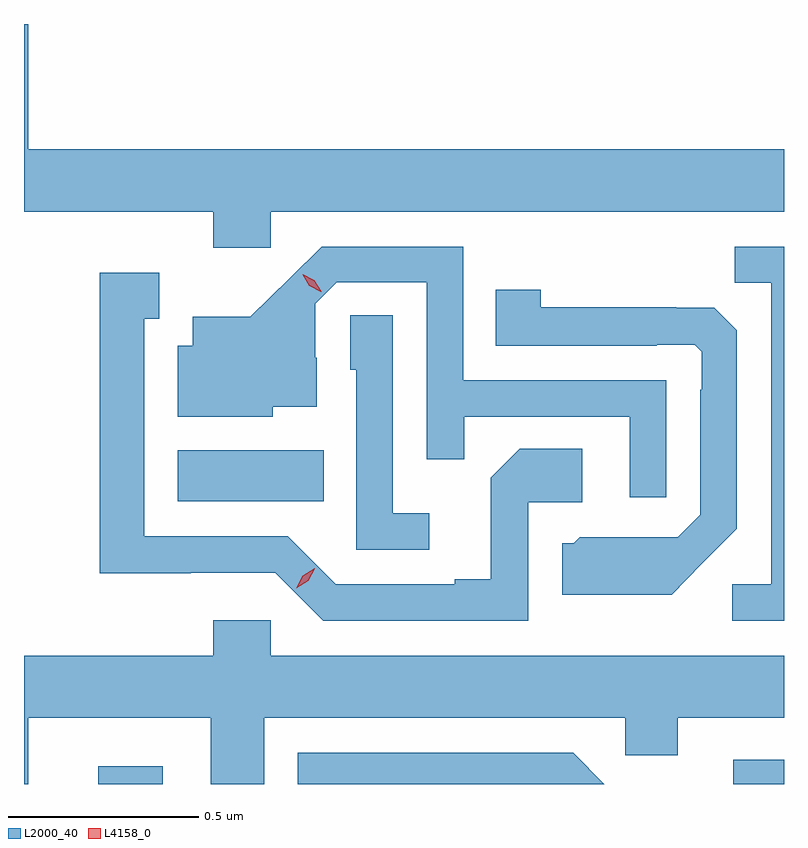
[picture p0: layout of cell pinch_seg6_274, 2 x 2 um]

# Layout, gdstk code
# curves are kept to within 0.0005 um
import gdstk
lib = gdstk.Library(unit=1e-6, precision=1e-09)
def R(c, l, rs):  # rectangles x0, y0, x1, y1
    for r in rs: c.add(gdstk.rectangle(r[:2], r[2:], *l))
def P(c, l, *ps):  # polygons
    for p in ps: c.add(gdstk.Polygon(p, *l))
L2000_40 = (2000, 40)
L4158_0 = (4158, 0)

pinch_seg6_274 = lib.new_cell('pinch_seg6_274')
R(pinch_seg6_274, L2000_40, [(884.636,987.122,884.806,987.169), (886.308,987.122,886.441,987.186), (884.846,987.866,885.23,988)])
P(pinch_seg6_274, L2000_40, [(885.09,988.628),(886.441,988.628),(886.441,988.792),(884.452,988.792),(884.452,989.122),(884.441,989.122),(884.441,988.628),(884.939,988.628),(884.939,988.533),(885.09,988.533)],
  [(886.441,988.536),(886.312,988.536),(886.312,988.441),(886.407,988.441),(886.407,987.648),(886.305,987.648),(886.305,987.552),(886.441,987.552)],
  [(886.131,988.185),(885.597,988.185),(885.597,988.536),(885.224,988.536),(885.037,988.351),(884.885,988.351),(884.885,988.275),(884.846,988.275),(884.846,988.088),(885.096,988.088),(885.096,988.115),(885.211,988.115),(885.211,988.244),(885.207,988.244),(885.207,988.386),(885.264,988.443),(885.501,988.443),(885.501,987.976),(885.599,987.976),(885.599,988.089),(886.035,988.089),(886.035,987.876),(886.131,987.876)],
  [(885.768,987.864),(885.91,987.864),(885.91,988.004),(885.745,988.004),(885.669,987.928),(885.669,987.661),(885.575,987.661),(885.575,987.648),(885.261,987.648),(885.135,987.774),(884.758,987.774),(884.758,988.347),(884.797,988.347),(884.797,988.468),(884.64,988.468),(884.64,987.677),(884.88,987.677),(884.88,987.678),(885.102,987.678),(885.228,987.552),(885.768,987.552)],
  [(886.225,987.701),(886.317,987.794),(886.317,988.316),(886.258,988.375),(886.157,988.375),(886.157,988.376),(885.801,988.376),(885.801,988.423),(885.682,988.423),(885.682,988.275),(886.106,988.275),(886.106,988.278),(886.206,988.278),(886.224,988.26),(886.224,988.16),(886.221,988.16),(886.221,987.831),(886.161,987.771),(886.038,987.771),(886.038,987.772),(885.904,987.772),(885.888,987.756),(885.857,987.756),(885.857,987.62),(886.145,987.62)],
  [(885.508,987.835),(885.411,987.835),(885.411,988.355),(885.3,988.355),(885.3,988.212),(885.315,988.212),(885.315,987.738),(885.508,987.738)],
  [(884.452,987.296),(884.933,987.296),(884.933,987.122),(885.073,987.122),(885.073,987.296),(886.023,987.296),(886.023,987.198),(886.162,987.198),(886.162,987.296),(886.441,987.296),(886.441,987.46),(885.09,987.46),(885.09,987.553),(884.939,987.553),(884.939,987.46),(884.441,987.46),(884.441,987.122),(884.452,987.122)],
  [(885.886,987.204),(885.162,987.204),(885.162,987.122),(885.968,987.122)])
P(pinch_seg6_274, L4158_0, [(885.222,988.418),(885.192,988.433),(885.174,988.462),(885.174,988.463),(885.175,988.463),(885.205,988.448),(885.223,988.419),(885.223,988.418)],
  [(885.157,987.637),(885.157,987.637),(885.174,987.67),(885.206,987.69),(885.206,987.69),(885.206,987.689),(885.189,987.657),(885.158,987.637)])

lib.write_gds('pinch_seg6_274.gds')
